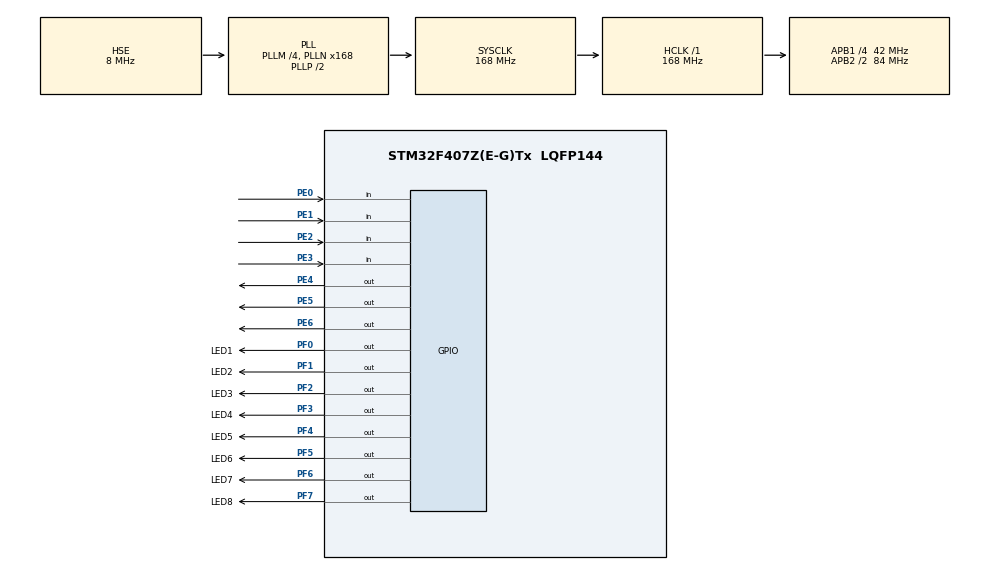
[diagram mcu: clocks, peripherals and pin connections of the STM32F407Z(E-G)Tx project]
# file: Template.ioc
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Mcu.Family=STM32F4
Mcu.Name=STM32F407Z(E-G)Tx
Mcu.Package=LQFP144
NVIC.PriorityGroup=NVIC_PRIORITYGROUP_4
PA13.Mode=Serial_Wire
PA13.Signal=SYS_JTMS-SWDIO
PA14.Mode=Serial_Wire
PA14.Signal=SYS_JTCK-SWCLK
PC14-OSC32_IN.Mode=LSE-External-Oscillator
PC14-OSC32_IN.Signal=RCC_OSC32_IN
PC15-OSC32_OUT.Mode=LSE-External-Oscillator
PC15-OSC32_OUT.Signal=RCC_OSC32_OUT
PE0.GPIO_PuPd=GPIO_PULLUP
PE0.Signal=GPIO_Input
PE1.GPIO_PuPd=GPIO_PULLUP
PE1.Signal=GPIO_Input
PE2.GPIO_PuPd=GPIO_PULLUP
PE2.Signal=GPIO_Input
PE3.GPIO_PuPd=GPIO_PULLUP
PE3.Signal=GPIO_Input
PE4.GPIO_ModeDefaultOutputPP=GPIO_MODE_OUTPUT_PP
PE4.GPIO_PuPd=GPIO_NOPULL
PE4.PinState=GPIO_PIN_SET
PE4.Signal=GPIO_Output
PE5.PinState=GPIO_PIN_SET
PE5.Signal=GPIO_Output
PE6.PinState=GPIO_PIN_SET
PE6.Signal=GPIO_Output
PF0.GPIO_Label=LED1
PF0.GPIO_ModeDefaultOutputPP=GPIO_MODE_OUTPUT_PP
PF0.GPIO_PuPd=GPIO_NOPULL
PF0.GPIO_Speed=GPIO_SPEED_FREQ_LOW
PF0.PinState=GPIO_PIN_SET
PF0.Signal=GPIO_Output
PF1.GPIO_Label=LED2
PF1.GPIO_ModeDefaultOutputPP=GPIO_MODE_OUTPUT_PP
PF1.GPIO_PuPd=GPIO_NOPULL
PF1.GPIO_Speed=GPIO_SPEED_FREQ_LOW
PF1.PinState=GPIO_PIN_SET
PF1.Signal=GPIO_Output
PF2.GPIO_Label=LED3
PF2.GPIO_ModeDefaultOutputPP=GPIO_MODE_OUTPUT_PP
PF2.GPIO_PuPd=GPIO_NOPULL
PF2.GPIO_Speed=GPIO_SPEED_FREQ_LOW
PF2.PinState=GPIO_PIN_SET
PF2.Signal=GPIO_Output
PF3.GPIO_Label=LED4
PF3.GPIO_ModeDefaultOutputPP=GPIO_MODE_OUTPUT_PP
PF3.GPIO_PuPd=GPIO_NOPULL
PF3.GPIO_Speed=GPIO_SPEED_FREQ_LOW
PF3.PinState=GPIO_PIN_SET
PF3.Signal=GPIO_Output
PF4.GPIO_Label=LED5
PF4.GPIO_ModeDefaultOutputPP=GPIO_MODE_OUTPUT_PP
PF4.GPIO_PuPd=GPIO_NOPULL
PF4.GPIO_Speed=GPIO_SPEED_FREQ_LOW
PF4.PinState=GPIO_PIN_SET
PF4.Signal=GPIO_Output
PF5.GPIO_Label=LED6
PF5.GPIO_ModeDefaultOutputPP=GPIO_MODE_OUTPUT_PP
PF5.GPIO_PuPd=GPIO_NOPULL
PF5.GPIO_Speed=GPIO_SPEED_FREQ_LOW
PF5.PinState=GPIO_PIN_SET
PF5.Signal=GPIO_Output
PF6.GPIO_Label=LED7
PF6.GPIO_ModeDefaultOutputPP=GPIO_MODE_OUTPUT_PP
PF6.GPIO_PuPd=GPIO_NOPULL
PF6.GPIO_Speed=GPIO_SPEED_FREQ_LOW
PF6.PinState=GPIO_PIN_SET
PF6.Signal=GPIO_Output
PF7.GPIO_Label=LED8
PF7.GPIO_ModeDefaultOutputPP=GPIO_MODE_OUTPUT_PP
PF7.GPIO_PuPd=GPIO_NOPULL
PF7.GPIO_Speed=GPIO_SPEED_FREQ_LOW
PF7.PinState=GPIO_PIN_SET
PF7.Signal=GPIO_Output
PH0-OSC_IN.Mode=HSE-External-Oscillator
PH0-OSC_IN.Signal=RCC_OSC_IN
PH1-OSC_OUT.Mode=HSE-External-Oscillator
PH1-OSC_OUT.Signal=RCC_OSC_OUT
ProjectManager.HeapSize=0x200
ProjectManager.StackSize=0x400
ProjectManager.TargetToolchain=MDK-ARM V5
RCC.48MHZClocksFreq_Value=84000000
RCC.AHBFreq_Value=168000000
RCC.APB1CLKDivider=RCC_HCLK_DIV4
RCC.APB1Freq_Value=42000000
RCC.APB1TimFreq_Value=84000000
RCC.APB2CLKDivider=RCC_HCLK_DIV2
RCC.APB2Freq_Value=84000000
RCC.APB2TimFreq_Value=168000000
RCC.CortexFreq_Value=168000000
RCC.HCLKFreq_Value=168000000
RCC.HSE_VALUE=8000000
RCC.HSI_VALUE=16000000
RCC.PLLM=4
RCC.PLLN=168
RCC.PLLSourceVirtual=RCC_PLLSOURCE_HSE
RCC.SYSCLKFreq_VALUE=168000000
RCC.SYSCLKSource=RCC_SYSCLKSOURCE_PLLCLK
RCC.VCOOutputFreq_Value=336000000
board=custom

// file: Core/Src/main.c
/* USER CODE BEGIN Header */
/**
  ******************************************************************************
  * @file           : main.c
  * @brief          : Main program body
  ******************************************************************************
  * @attention
  *
  * Copyright (c) 2026 STMicroelectronics.
  * All rights reserved.
  *
  * This software is licensed under terms that can be found in the LICENSE file
  * in the root directory of this software component.
  * If no LICENSE file comes with this software, it is provided AS-IS.
  *
  ******************************************************************************
  */
/* USER CODE END Header */
#include "main.h"
#include "gpio.h"

void SystemClock_Config(void);

/* USER CODE BEGIN 0 */
uint8_t Key_Scan(void)
{
  uint8_t row, col, val, key = 0;
  uint32_t d;

  for (row = 0; row < 3; row++)
  {
    GPIOE->ODR = (uint16_t)~(1U << (row + 4));   /* ????? */
    for (d = 0; d < 300U; d++) { }               /* ????? */
    val = (uint8_t)(GPIOE->IDR & 0x0F);          /* ? 4 ??? */
    if (val != 0x0F)
    {
      HAL_Delay(16);                             /* ?? 16ms */
      val = (uint8_t)(GPIOE->IDR & 0x0F);
      if (val != 0x0F)
      {
        switch (val)
        {
          case 0x0E: col = 1; break;             /* PE0 ? */
          case 0x0D: col = 2; break;             /* PE1 ? */
          case 0x0B: col = 3; break;             /* PE2 ? */
          case 0x07: col = 4; break;             /* PE3 ? */
          default  : col = 0; break;
        }
        if (col) key = row * 4 + col;
        while ((GPIOE->IDR & 0x0F) != 0x0F) { }  /* ???,???? */
        break;
      }
    }
  }
  GPIOE->ODR |= 0x70;                            /* ??????? */
  return key;
}
/* USER CODE END 0 */

int main(void)
{

  /* MCU Configuration--------------------------------------------------------*/

  /* Reset of all peripherals, Initializes the Flash interface and the Systick. */
  HAL_Init();

  /* Configure the system clock */
  SystemClock_Config();

  /* Initialize all configured peripherals */
  MX_GPIO_Init();

  /* Infinite loop */
  while (1)
  {

    /* USER CODE BEGIN 3 */
    uint8_t key = Key_Scan();
    if (key != 0)
    {
      GPIOF->ODR = (uint16_t)~(((uint16_t)(key / 10) << 4) | (key % 10));
    }
  /* USER CODE END 3 */
  }
}

void SystemClock_Config(void)
{
  RCC_OscInitTypeDef RCC_OscInitStruct = {0};
  RCC_ClkInitTypeDef RCC_ClkInitStruct = {0};

  /** Configure the main internal regulator output voltage
  */
  __HAL_RCC_PWR_CLK_ENABLE();
  __HAL_PWR_VOLTAGESCALING_CONFIG(PWR_REGULATOR_VOLTAGE_SCALE1);

  /** Initializes the RCC Oscillators according to the specified parameters
  * in the RCC_OscInitTypeDef structure.
  */
  RCC_OscInitStruct.OscillatorType = RCC_OSCILLATORTYPE_HSE;
  RCC_OscInitStruct.HSEState = RCC_HSE_ON;
  RCC_OscInitStruct.PLL.PLLState = RCC_PLL_ON;
  RCC_OscInitStruct.PLL.PLLSource = RCC_PLLSOURCE_HSE;
  RCC_OscInitStruct.PLL.PLLM = 4;
  RCC_OscInitStruct.PLL.PLLN = 168;
  RCC_OscInitStruct.PLL.PLLP = RCC_PLLP_DIV2;
  RCC_OscInitStruct.PLL.PLLQ = 4;
  if (HAL_RCC_OscConfig(&RCC_OscInitStruct) != HAL_OK)
  {
    Error_Handler();
  }

  /** Initializes the CPU, AHB and APB buses clocks
  */
  RCC_ClkInitStruct.ClockType = RCC_CLOCKTYPE_HCLK|RCC_CLOCKTYPE_SYSCLK
                              |RCC_CLOCKTYPE_PCLK1|RCC_CLOCKTYPE_PCLK2;
  RCC_ClkInitStruct.SYSCLKSource = RCC_SYSCLKSOURCE_PLLCLK;
  RCC_ClkInitStruct.AHBCLKDivider = RCC_SYSCLK_DIV1;
  RCC_ClkInitStruct.APB1CLKDivider = RCC_HCLK_DIV4;
  RCC_ClkInitStruct.APB2CLKDivider = RCC_HCLK_DIV2;

  if (HAL_RCC_ClockConfig(&RCC_ClkInitStruct, FLASH_LATENCY_5) != HAL_OK)
  {
    Error_Handler();
  }
}

void Error_Handler(void)
{
  __disable_irq();
  while (1)
  {
  }
}
